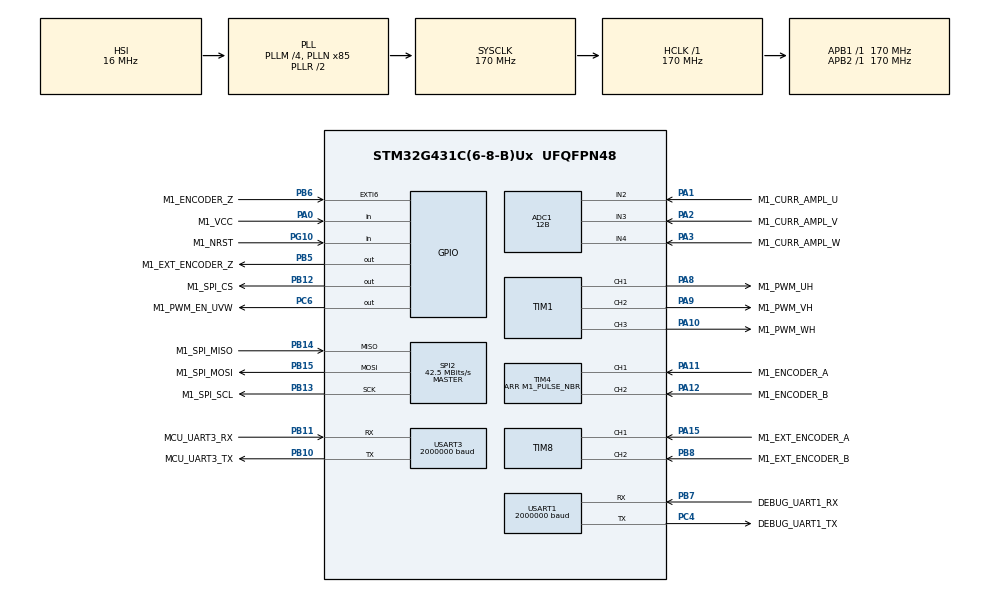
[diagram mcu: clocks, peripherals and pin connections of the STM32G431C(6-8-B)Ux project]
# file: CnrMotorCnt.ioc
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ADC1.ClockPrescaler=ADC_CLOCK_ASYNC_DIV1
ADC1.ContinuousConvMode=DISABLE
ADC1.DMAContinuousRequests=DISABLE
ADC1.DataAlign=ADC_DATAALIGN_LEFT
ADC1.DiscontinuousConvMode=DISABLE
ADC1.EOCSelection=ADC_EOC_SINGLE_CONV
ADC1.EnableAnalogWatchDog1=false
ADC1.EnableAnalogWatchDog2=false
ADC1.EnableAnalogWatchDog3=false
ADC1.EnableInjectedConversion=ENABLE
ADC1.EnableRegularConversion=DISABLE
ADC1.ExternalTrigInjecConv=ADC_EXTERNALTRIGINJEC_T1_TRGO
ADC1.ExternalTrigInjecConvEdge=ADC_EXTERNALTRIGINJECCONV_EDGE_RISING
ADC1.InjNumberOfConversion=3
ADC1.InjectedChannel-1\#ChannelInjectedConversion=ADC_CHANNEL_2
ADC1.InjectedChannel-2\#ChannelInjectedConversion=ADC_CHANNEL_3
ADC1.InjectedChannel-3\#ChannelInjectedConversion=ADC_CHANNEL_4
ADC1.InjectedConvMode=None
ADC1.InjectedOffset-1\#ChannelInjectedConversion=0
ADC1.InjectedOffset-2\#ChannelInjectedConversion=0
ADC1.InjectedOffset-3\#ChannelInjectedConversion=0
ADC1.InjectedOffsetNumber-1\#ChannelInjectedConversion=ADC_OFFSET_NONE
ADC1.InjectedOffsetNumber-2\#ChannelInjectedConversion=ADC_OFFSET_NONE
ADC1.InjectedOffsetNumber-3\#ChannelInjectedConversion=ADC_OFFSET_NONE
ADC1.InjectedRank-1\#ChannelInjectedConversion=1
ADC1.InjectedRank-2\#ChannelInjectedConversion=2
ADC1.InjectedRank-3\#ChannelInjectedConversion=3
ADC1.InjectedSamplingTime-1\#ChannelInjectedConversion=ADC_SAMPLETIME_6CYCLES_5
ADC1.InjectedSamplingTime-2\#ChannelInjectedConversion=ADC_SAMPLETIME_6CYCLES_5
ADC1.InjectedSamplingTime-3\#ChannelInjectedConversion=ADC_SAMPLETIME_6CYCLES_5
ADC1.LowPowerAutoWait=DISABLE
ADC1.Overrun=ADC_OVR_DATA_PRESERVED
ADC1.Resolution=ADC_RESOLUTION_12B
ADC1.ScanConvMode=ADC_SCAN_ENABLE
ADC1.master=1
Dma.Request0=USART1_RX
Dma.Request1=USART1_TX
Dma.USART1_RX.0.Direction=DMA_PERIPH_TO_MEMORY
Dma.USART1_RX.0.EventEnable=DISABLE
Dma.USART1_RX.0.Instance=DMA1_Channel1
Dma.USART1_RX.0.MemDataAlignment=DMA_MDATAALIGN_BYTE
Dma.USART1_RX.0.MemInc=DMA_MINC_ENABLE
Dma.USART1_RX.0.Mode=DMA_NORMAL
Dma.USART1_RX.0.PeriphDataAlignment=DMA_PDATAALIGN_BYTE
Dma.USART1_RX.0.PeriphInc=DMA_PINC_DISABLE
Dma.USART1_RX.0.Polarity=HAL_DMAMUX_REQ_GEN_RISING
Dma.USART1_RX.0.Priority=DMA_PRIORITY_LOW
Dma.USART1_RX.0.RequestNumber=1
Dma.USART1_RX.0.SignalID=NONE
Dma.USART1_RX.0.SyncEnable=DISABLE
Dma.USART1_RX.0.SyncPolarity=HAL_DMAMUX_SYNC_NO_EVENT
Dma.USART1_RX.0.SyncRequestNumber=1
Dma.USART1_RX.0.SyncSignalID=NONE
Dma.USART1_TX.1.Direction=DMA_MEMORY_TO_PERIPH
Dma.USART1_TX.1.EventEnable=DISABLE
Dma.USART1_TX.1.Instance=DMA1_Channel2
Dma.USART1_TX.1.MemDataAlignment=DMA_MDATAALIGN_BYTE
Dma.USART1_TX.1.MemInc=DMA_MINC_ENABLE
Dma.USART1_TX.1.Mode=DMA_NORMAL
Dma.USART1_TX.1.PeriphDataAlignment=DMA_PDATAALIGN_BYTE
Dma.USART1_TX.1.PeriphInc=DMA_PINC_DISABLE
Dma.USART1_TX.1.Polarity=HAL_DMAMUX_REQ_GEN_RISING
Dma.USART1_TX.1.Priority=DMA_PRIORITY_LOW
Dma.USART1_TX.1.RequestNumber=1
Dma.USART1_TX.1.SignalID=NONE
Dma.USART1_TX.1.SyncEnable=DISABLE
Dma.USART1_TX.1.SyncPolarity=HAL_DMAMUX_SYNC_NO_EVENT
Dma.USART1_TX.1.SyncRequestNumber=1
Dma.USART1_TX.1.SyncSignalID=NONE
ExtraMW=MotorControl
ExtraMW.MotorControl.Config=MotorControl
ExtraMW.MotorControl.Mode=MotorControl
ExtraMW.MotorControl.Root=MCSDK_v6.4.2-Full/MotorControl
ExtraMW.MotorControl.Template=templates
FREERTOS.Tasks01=foc_task,1,128,start_foc_control_task,Default,NULL,Dynamic,NULL,NULL;instr_task,0,128,start_instruction_task,Default,NULL,Dynamic,NULL,NULL;handler_task,-1,128,start_command_handler_task,Default,NULL,Dynamic,NULL,NULL;mediumFrequency,-3,128,startMediumFrequencyTask,As weak,NULL,Dynamic,NULL,NULL;safety,-3,128,StartSafetyTask,As external,NULL,Dynamic,NULL,NULL
FREERTOS.configTOTAL_HEAP_SIZE=6144
Mcu.Family=STM32G4
Mcu.Name=STM32G431C(6-8-B)Ux
Mcu.Package=UFQFPN48
MotorControl.ADC_AHBPERIPH=RCC_AHBPeriph_ADC1
MotorControl.ADC_CLOCK_WB_DIV=1
MotorControl.ADC_PERIPH=ADC1
MotorControl.ADC_REFERENCE_VOLTAGE=3.3
MotorControl.BOARD=~CNR-MOTOR-CNT
MotorControl.BUS_VOLTAGE_READING=false
MotorControl.CCMRAM_ENABLED=false
MotorControl.CLOCK_FREQUENCY=CPU_CLK_170_MHZ
MotorControl.CLOCK_SOURCE=INTERNAL
MotorControl.CPU_CLK_170_MHZ=true
MotorControl.CTLBOARD_NAME=~CNR-MOTOR-CNT
MotorControl.CUBE_MX_VER=6.17.0
MotorControl.CURRENT_READING_TOPOLOGY=THREE_SHUNT
MotorControl.CURR_SAMPLING_TIME=6
MotorControl.DBG_MCU_LOAD_MEASURE=false
MotorControl.DEBUG_DAC_FUNCTIONALITY_EN=false
MotorControl.DRIVES_NUMBER_SELECTION=SINGLEDRIVE
MotorControl.DRIVE_NUMBER=1
MotorControl.DRIVE_TYPE=FOC
MotorControl.ENCODER=true
MotorControl.ENCODER_AVAILABLE=true
MotorControl.ENCODER_PPR=256
MotorControl.ENC_A_GPIO_PIN=LL_GPIO_PIN_11
MotorControl.ENC_A_GPIO_PORT=GPIOA
MotorControl.ENC_B_GPIO_PIN=LL_GPIO_PIN_12
MotorControl.ENC_B_GPIO_PORT=GPIOA
MotorControl.ENC_ICx_FILTER=128
MotorControl.ENC_INVERT_SPEED=false
MotorControl.ENC_TIMER_SELECTION=ENC_TIM4
MotorControl.ENC_USE_CH3=true
MotorControl.ENC_Z_GPIO_PIN=LL_GPIO_PIN_6
MotorControl.ENC_Z_GPIO_PORT=GPIOB
MotorControl.EXT_CLOCK_FREQUENCY=INT_RC_OSC
MotorControl.FEEDBACK_NET_FILTERING=false
MotorControl.FLASH_SIZE=128
MotorControl.HALL_SENSORS_AVAILABLE=false
MotorControl.HIGH_SIDE_IDLE_STATE=false
MotorControl.HWV_CS=ThreeShunt_AmplifiedCurrents
MotorControl.HWV_PWM=DrivingHighSidesAndOneEnable
MotorControl.HW_COMPLEMENTED_LOW_SIDE=true
MotorControl.HW_DEAD_TIME_NS=1000
MotorControl.INT_RC_OSC=true
MotorControl.IPs=CORDIC,NVIC,RCC,MotorControl,TIM1,ADC1,TIM4,USART1,FREERTOS,DMA
MotorControl.LOW_MEMORY_FOOTPRINT_REG=false
MotorControl.LOW_SIDE_IDLE_STATE=false
MotorControl.LOW_SIDE_SIGNALS_ENABLING=ES_GPIO
MotorControl.M1_ALIGNMENT_ANGLE_DEG=90
MotorControl.M1_ALIGNMENT_DURATION=700
MotorControl.M1_AMPLIFICATION_GAIN=0.15
MotorControl.M1_ANGC={0,0,0,0,0,0,0,0}
MotorControl.M1_AUXILIARY_SPEED_SENSOR=NONE
MotorControl.M1_BOARD_MAX_CURRENT=1.6
MotorControl.M1_BUS_VOLTAGE_READING=false
MotorControl.M1_COMMUTATION_STEP_TIME_BUF_SIZE=12
MotorControl.M1_CONSTANT1_D=0
MotorControl.M1_CONSTANT1_Q=0
MotorControl.M1_CONSTANT2_QD=921221
MotorControl.M1_CS_ADC_NUM=1
MotorControl.M1_CS_ADC_PHASE_SHARED=NONE
MotorControl.M1_CS_ADC_U=ADC1
MotorControl.M1_CS_ADC_V=ADC1
MotorControl.M1_CS_ADC_W=ADC1
MotorControl.M1_CS_CHANNEL_U=2
MotorControl.M1_CS_CHANNEL_V=3
MotorControl.M1_CS_CHANNEL_W=4
MotorControl.M1_CURRENT_AMPLIFICATION_TOPO=EXTERNAL
MotorControl.M1_CURRENT_SENSING_TOPO=THREE_SHUNT
MotorControl.M1_CURR_SAMPLING_TIME=6
MotorControl.M1_DBG_OPEN_LOOP_ENABLE=false
MotorControl.M1_DC_CURRENT_RS_MEAS=1.6
MotorControl.M1_DEFAULT_CONTROL_MODE=STC_SPEED_MODE
MotorControl.M1_DEFAULT_FLUX_COMPONENT=0
MotorControl.M1_DEFAULT_TARGET_SPEED_RPM=1440
MotorControl.M1_DEFAULT_TORQUE_COMPONENT=0
MotorControl.M1_DISCONTINUOUS_PWM=false
MotorControl.M1_DP_TOPOLOGY=NONE
MotorControl.M1_DRIVE_TYPE=FOC
MotorControl.M1_ENCODER_PPR=256
MotorControl.M1_ENC_AVERAGING_FIFO_DEPTH=16
MotorControl.M1_ENC_A_GPIO_PIN=LL_GPIO_PIN_11
MotorControl.M1_ENC_A_GPIO_PORT=GPIOA
MotorControl.M1_ENC_B_GPIO_PIN=LL_GPIO_PIN_12
MotorControl.M1_ENC_B_GPIO_PORT=GPIOA
MotorControl.M1_ENC_ICx_FILTER=128
MotorControl.M1_ENC_TIMER_IRQ=TIM4
MotorControl.M1_ENC_TIMER_SELECTION=ENC_TIM4
MotorControl.M1_ENC_USE_CH3=true
MotorControl.M1_ENC_Z_GPIO_IRQ=EXTI9_5
MotorControl.M1_ENC_Z_GPIO_PIN=LL_GPIO_PIN_6
MotorControl.M1_ENC_Z_GPIO_PORT=GPIOB
MotorControl.M1_FEED_FORWARD_CURRENT_REG_ENABLING=false
MotorControl.M1_FINAL_I_ALIGNMENT=1.6
MotorControl.M1_FLUX_WEAKENING_ENABLING=false
MotorControl.M1_FW_KIDIV=32768
MotorControl.M1_FW_KI_GAIN=5000
MotorControl.M1_FW_KPDIV=32768
MotorControl.M1_FW_KP_GAIN=3000
MotorControl.M1_FW_VOLTAGE_REF=985
MotorControl.M1_HALL_PHASE_SHIFT=300
MotorControl.M1_HALL_SENSORS_PLACEMENT=DEGREES_120
MotorControl.M1_HIGH_SIDE_IDLE_STATE=false
MotorControl.M1_HW_DEAD_TIME_NS=1000
MotorControl.M1_ICL_ENABLED=false
MotorControl.M1_ID_DEMAG=-1.6
MotorControl.M1_IQMAX=1.6
MotorControl.M1_LDLQ_RATIO=1.000
MotorControl.M1_LOW_SIDE_IDLE_STATE=false
MotorControl.M1_LOW_SIDE_SIGNALS_ENABLING=ES_GPIO
MotorControl.M1_LS=0
MotorControl.M1_MAX_APPLICATION_SPEED=50000
MotorControl.M1_MAX_MODULATION_INDEX=65
MotorControl.M1_MIN_APPLICATION_SPEED=0
MotorControl.M1_MOTOR_MAX_SPEED_RPM=50000
MotorControl.M1_MOTOR_NAME=MAXON EC-I 100W
MotorControl.M1_MOTOR_RATED_FLUX=0.029687816
MotorControl.M1_MOTOR_VOLTAGE_CONSTANT=0.6
MotorControl.M1_MTPA_ENABLING=false
MotorControl.M1_NOMINAL_BUS_VOLTAGE_V=36
MotorControl.M1_NOMINAL_CURRENT=1.6
MotorControl.M1_OCP_TOPOLOGY=NONE
MotorControl.M1_OFST={0,0,0,0,0,0,0,0}
MotorControl.M1_OVERMODULATION=false
MotorControl.M1_PID_FLUX_KD_DEFAULT=100
MotorControl.M1_PID_FLUX_KI_DEFAULT=2829
MotorControl.M1_PID_FLUX_KP_DEFAULT=0
MotorControl.M1_PID_SPEED_KD_DEFAULT=0
MotorControl.M1_PID_SPEED_KI_DEFAULT=328
MotorControl.M1_PID_SPEED_KP_DEFAULT=2130
MotorControl.M1_PID_TORQUE_KD_DEFAULT=100
MotorControl.M1_PID_TORQUE_KI_DEFAULT=2829
MotorControl.M1_PID_TORQUE_KP_DEFAULT=0
MotorControl.M1_POLE_PAIR_NUM=1
MotorControl.M1_POSITION_CTRL_ENABLING=true
MotorControl.M1_POSITION_CTRL_KDDIV=16
MotorControl.M1_POSITION_CTRL_KD_GAIN=1000
MotorControl.M1_POSITION_CTRL_KIDIV=32768
MotorControl.M1_POSITION_CTRL_KI_GAIN=1000
MotorControl.M1_POSITION_CTRL_KPDIV=1024
MotorControl.M1_POSITION_CTRL_KP_GAIN=10000
MotorControl.M1_POSITION_LOOP_FREQUENCY_HZ=1000
MotorControl.M1_POTENTIOMETER_ENABLE=false
MotorControl.M1_POWERBOARD_NAME=~CNR-MOTOR-DRV
MotorControl.M1_PWM_CHARGE_BOOT_CAP_DUTY_CYCLES=0.000
MotorControl.M1_PWM_CHARGE_BOOT_CAP_MS=10
MotorControl.M1_PWM_DRIVER_PN=DRV8316CT
MotorControl.M1_PWM_FREQUENCY=50000
MotorControl.M1_PWM_TIMER_BRK_IRQ=TIM1_BRK_TIM15
MotorControl.M1_PWM_TIMER_SELECTION=PWM_TIM1
MotorControl.M1_PWM_TIMER_UP_IRQ=TIM1_UP_TIM16
MotorControl.M1_REGULATION_EXECUTION_RATE=1
MotorControl.M1_RS=11.3
MotorControl.M1_RSHUNT=0.15
MotorControl.M1_SEGDIV=0
MotorControl.M1_SHARED_SIGNAL_ENABLE=true
MotorControl.M1_SPD_DIFFERENTIAL_TERM_ENABLING=false
MotorControl.M1_SPEED_SENSOR=QUAD_ENCODER_Z
MotorControl.M1_SP_KDDIV=16
MotorControl.M1_SP_KIDIV=16384
MotorControl.M1_SP_KPDIV=256
MotorControl.M1_SS_MEAS_ERRORS_BEFORE_FAULTS=3
MotorControl.M1_SW_DEADTIME_NS=1000
MotorControl.M1_TEMPERATURE_READING=false
MotorControl.M1_TF_KDDIV=8192
MotorControl.M1_TF_KIDIV=512
MotorControl.M1_TF_KPDIV=16384
MotorControl.M1_TNOISE_NS=700
MotorControl.M1_TRISE_NS=1800
MotorControl.M1_USE_INTERNAL_OPAMP=false
MotorControl.MAX_READABLE_CURRENT=73.333
MotorControl.MCPA_OVER_UART_A_STREAM=10
MotorControl.MCP_ASPEP_OVER_UART=true
MotorControl.MCP_ASYNC_EN=true
MotorControl.MCP_ASYNC_OVER_ASPEP_EN=true
MotorControl.MCP_ASYNC_OVER_UART_A_EN=true
MotorControl.MCP_DMACH_RX_UART_A=1
MotorControl.MCP_DMACH_TX_UART_A=2
MotorControl.MCP_DMA_RX_UART_A=DMA1
MotorControl.MCP_DMA_TX_UART_A=DMA1
MotorControl.MCP_EN=true
MotorControl.MCP_IRQ_HANDLER_DMA_RX_UART_A=DMA1_Channel1_IRQHandler
MotorControl.MCP_IRQ_HANDLER_UART_A=USART1_IRQHandler
MotorControl.MCP_OVER_ASPEP_EN=true
MotorControl.MCP_OVER_STLNK_EN=false
MotorControl.MCP_OVER_UART_A_EN=true
MotorControl.MCP_OVER_UART_B_EN=false
MotorControl.MCP_RX_SYNC_PAYLOAD_MAX=256
MotorControl.MCP_TX_ASYNC_PAYLOAD_MAX_UART_A=2048
MotorControl.MCP_TX_SYNC_PAYLOAD_MAX=256
MotorControl.MCU=STM32G431CB
MotorControl.MCU_FAMILY=STM32G4
MotorControl.MCU_LINE=STM32G4x1
MotorControl.MCU_NAME=STM32G431C(6-8-B)Ux
MotorControl.MCU_PACKAGE=UFQFPN48
MotorControl.MCU_TYPE=STM32G431CB
MotorControl.MCU_USERNAME=STM32G431CBUx
MotorControl.MC_WORKBENCH_VERSION=6.4.2
MotorControl.MOTOR_PROFILER=false
MotorControl.MOTOR_TYPE=PMSM
MotorControl.PHASE_UH_GPIO_PIN=LL_GPIO_PIN_8
MotorControl.PHASE_UH_GPIO_PORT=GPIOA
MotorControl.PHASE_UH_POLARITY=H_ACTIVE_HIGH
MotorControl.PHASE_UL_GPIO_PIN=LL_GPIO_PIN_6
MotorControl.PHASE_UL_GPIO_PORT=GPIOC
MotorControl.PHASE_UL_POLARITY=L_ACTIVE_HIGH
MotorControl.PHASE_U_CURR_ADC=ADC1
MotorControl.PHASE_U_CURR_CHANNEL=ADC_CHANNEL_2
MotorControl.PHASE_U_GPIO_PIN=LL_GPIO_PIN_1
MotorControl.PHASE_U_GPIO_PORT=GPIOA
MotorControl.PHASE_U_PWM_CHANNEL=TIM_Channel_1
MotorControl.PHASE_VH_GPIO_PIN=LL_GPIO_PIN_9
MotorControl.PHASE_VH_GPIO_PORT=GPIOA
MotorControl.PHASE_VH_POLARITY=H_ACTIVE_HIGH
MotorControl.PHASE_VL_GPIO_PIN=LL_GPIO_PIN_6
MotorControl.PHASE_VL_GPIO_PORT=GPIOC
MotorControl.PHASE_VL_POLARITY=L_ACTIVE_HIGH
MotorControl.PHASE_V_CURR_ADC=ADC1
MotorControl.PHASE_V_CURR_CHANNEL=ADC_CHANNEL_3
MotorControl.PHASE_V_GPIO_PIN=LL_GPIO_PIN_2
MotorControl.PHASE_V_GPIO_PORT=GPIOA
MotorControl.PHASE_V_PWM_CHANNEL=TIM_Channel_2
MotorControl.PHASE_WH_GPIO_PIN=LL_GPIO_PIN_10
MotorControl.PHASE_WH_GPIO_PORT=GPIOA
MotorControl.PHASE_WH_POLARITY=H_ACTIVE_HIGH
MotorControl.PHASE_WL_GPIO_PIN=LL_GPIO_PIN_6
MotorControl.PHASE_WL_GPIO_PORT=GPIOC
MotorControl.PHASE_WL_POLARITY=L_ACTIVE_HIGH
MotorControl.PHASE_W_CURR_ADC=ADC1
MotorControl.PHASE_W_CURR_CHANNEL=ADC_CHANNEL_4
MotorControl.PHASE_W_GPIO_PIN=LL_GPIO_PIN_3
MotorControl.PHASE_W_GPIO_PORT=GPIOA
MotorControl.PHASE_W_PWM_CHANNEL=TIM_Channel_3
MotorControl.POTENTIOMETER_READING=false
MotorControl.PWM_FREQUENCY=50000
MotorControl.PWM_TIMER_SELECTION=PWM_TIM1
MotorControl.REGULATION_EXECUTION_RATE=1
MotorControl.RTOS=FREERTOS
MotorControl.RTOS_IRQ_NAME_WB2MX=TIM6_DAC_IRQn
MotorControl.RTOS_TIMER=TIM6
MotorControl.RTOS_USE_IRQ=true
MotorControl.SINGLEDRIVE=true
MotorControl.SPD_DIFFERENTIAL_TERM_ENABLING=false
MotorControl.SPEED_SENSOR_SELECTION=ENCODER
MotorControl.START_STOP_BTN=false
MotorControl.STM32G431CB=true
MotorControl.SW_DEADTIME_NS=1000
MotorControl.TEMPERATURE_READING=false
MotorControl.TFDIFFERENTIAL_TERM_ENABLING=false
MotorControl.THREE_SHUNT=true
MotorControl.TRISE_NS=1800
MotorControl.USART_RX_GPIO_PIN=LL_GPIO_PIN_7
MotorControl.USART_RX_GPIO_PORT=GPIOB
MotorControl.USART_SELECTION=USE_USART1
MotorControl.USART_SELECTION_A=USART1
MotorControl.USART_SPEED=1843200
MotorControl.USART_TX_GPIO_PIN=LL_GPIO_PIN_4
MotorControl.USART_TX_GPIO_PORT=GPIOC
MotorControl.USE_3OPAMPS=false
MotorControl.USE_INTERNAL_OPAMP=false
MotorControl.WB_MX_HEAPSIZE=0x200
MotorControl.WB_MX_STACKSIZE=0x400
MotorControl.WB_MX_TRUSTZONE_AVAILABLE=false
MotorControl.WB_UI_CUTOFF_FREQUENCY=6000
MotorControl.WB_UI_ENCODER_HAS_INDEX_PIN=true
MotorControl.WB_UI_FLUX_TARGET=0
MotorControl.WB_UI_FRICTION=14
MotorControl.WB_UI_INERTIA=5.81
MotorControl.WB_UI_MAGNETIC_STRUCTURE=SM-PMSM
MotorControl.WB_UI_MAX_CURRENT=1.6
MotorControl.WB_UI_MAX_NOMINAL_DC_VOLTAGE=36
MotorControl.WB_UI_MAX_PWMFREQUENCY=50000
MotorControl.WB_UI_MOTOR_DESCRIPTION=brushless DC motor with encoder and Z Index
MotorControl.WB_UI_PW_BOARD_MAX_RATED_CURRENT=8
MotorControl.WB_UI_PW_BOARD_MAX_VOLTAGE=36
MotorControl.WB_UI_PW_BOARD_MIN_VOLTAGE=4.5
MotorControl.WB_UI_VPOL=0
MotorControl.WB_to_Mx_template_version=25-05-06
MotorControl.WB_to_Mx_version=6.4.2
NVIC.ADC1_2_IRQn=true\:7\:0\:true\:true\:false\:5\:true\:true\:true\:true
NVIC.EXTI9_5_IRQn=true\:8\:0\:true\:true\:false\:7\:true\:true\:true\:true
NVIC.PriorityGroup=NVIC_PRIORITYGROUP_4
NVIC.TIM1_BRK_TIM15_IRQn=true\:9\:0\:true\:true\:false\:3\:true\:true\:true\:true
NVIC.TIM1_UP_TIM16_IRQn=true\:5\:0\:true\:true\:false\:4\:true\:true\:true\:true
NVIC.TIM4_IRQn=true\:8\:0\:true\:true\:false\:6\:true\:true\:true\:true
NVIC.TIM6_DAC_IRQn=true\:15\:0\:false\:false\:true\:false\:false\:true\:true
NVIC.TimeBase=TIM6_DAC_IRQn
NVIC.TimeBaseIP=TIM6
NVIC.USART3_IRQn=true\:5\:0\:false\:false\:true\:true\:true\:true\:true
PA0.GPIO_Label=M1_VCC
PA0.Signal=GPIO_Input
PA1.GPIO_Label=M1_CURR_AMPL_U
PA1.Mode=IN2-Single-Ended
PA1.Signal=ADC1_IN2
PA10.GPIO_Label=M1_PWM_WH
PA10.GPIO_PuPd=GPIO_PULLDOWN
PA10.GPIO_Speed=GPIO_SPEED_FREQ_HIGH
PA10.Signal=S_TIM1_CH3
PA11.GPIO_Label=M1_ENCODER_A
PA11.Signal=S_TIM4_CH1
PA12.GPIO_Label=M1_ENCODER_B
PA12.Signal=S_TIM4_CH2
PA13.Mode=Trace_Asynchronous_SW
PA13.Signal=SYS_JTMS-SWDIO
PA14.Mode=Trace_Asynchronous_SW
PA14.Signal=SYS_JTCK-SWCLK
PA15.GPIO_Label=M1_EXT_ENCODER_A
PA15.Signal=S_TIM8_CH1
PA2.GPIO_Label=M1_CURR_AMPL_V
PA2.Mode=IN3-Single-Ended
PA2.Signal=ADC1_IN3
PA3.GPIO_Label=M1_CURR_AMPL_W
PA3.Mode=IN4-Single-Ended
PA3.Signal=ADC1_IN4
PA8.GPIO_Label=M1_PWM_UH
PA8.GPIO_PuPd=GPIO_PULLDOWN
PA8.GPIO_Speed=GPIO_SPEED_FREQ_HIGH
PA8.Signal=S_TIM1_CH1
PA9.GPIO_Label=M1_PWM_VH
PA9.GPIO_PuPd=GPIO_PULLDOWN
PA9.GPIO_Speed=GPIO_SPEED_FREQ_HIGH
PA9.Signal=S_TIM1_CH2
PB10.GPIO_Label=MCU_UART3_TX
PB10.GPIO_PuPd=GPIO_PULLUP
PB10.Mode=Asynchronous
PB10.Signal=USART3_TX
PB11.GPIO_Label=MCU_UART3_RX
PB11.GPIO_PuPd=GPIO_PULLUP
PB11.Mode=Asynchronous
PB11.Signal=USART3_RX
PB12.GPIO_Label=M1_SPI_CS
PB12.Signal=GPIO_Output
PB13.GPIO_Label=M1_SPI_SCL
PB13.Mode=Full_Duplex_Master
PB13.Signal=SPI2_SCK
PB14.GPIO_Label=M1_SPI_MISO
PB14.Mode=Full_Duplex_Master
PB14.Signal=SPI2_MISO
PB15.GPIO_Label=M1_SPI_MOSI
PB15.Mode=Full_Duplex_Master
PB15.Signal=SPI2_MOSI
PB3.Mode=Trace_Asynchronous_SW
PB3.Signal=SYS_JTDO-SWO
PB5.GPIO_Label=M1_EXT_ENCODER_Z
PB5.Signal=GPIO_Output
PB6.GPIO_Label=M1_ENCODER_Z
PB6.GPIO_ModeDefaultEXTI=GPIO_MODE_IT_RISING
PB6.Signal=GPXTI6
PB7.GPIO_Label=DEBUG_UART1_RX
PB7.GPIO_Mode=GPIO_MODE_AF_PP
PB7.GPIO_PuPd=GPIO_NOPULL
PB7.GPIO_Speed=GPIO_SPEED_FREQ_LOW
PB7.Mode=Asynchronous
PB7.Signal=USART1_RX
PB8-BOOT0.GPIO_Label=M1_EXT_ENCODER_B
PB8-BOOT0.Signal=S_TIM8_CH2
PC4.GPIO_Label=DEBUG_UART1_TX
PC4.GPIO_Mode=GPIO_MODE_AF_PP
PC4.GPIO_PuPd=GPIO_NOPULL
PC4.GPIO_Speed=GPIO_SPEED_FREQ_LOW
PC4.Mode=Asynchronous
PC4.Signal=USART1_TX
PC6.GPIO_Label=M1_PWM_EN_UVW
PC6.GPIO_PuPd=GPIO_PULLDOWN
PC6.GPIO_Speed=GPIO_SPEED_FREQ_HIGH
PC6.Signal=GPIO_Output
PG10-NRST.GPIO_Label=M1_NRST
PG10-NRST.Signal=GPIO_Input
ProjectManager.HeapSize=0x200
ProjectManager.StackSize=0x400
ProjectManager.TargetToolchain=CMake
RCC.ADC12CLockSelection=RCC_ADC12CLKSOURCE_PLL
RCC.ADC12Freq_Value=42500000
RCC.AHBFreq_Value=170000000
RCC.APB1Freq_Value=170000000
RCC.APB1TimFreq_Value=170000000
RCC.APB2Freq_Value=170000000
RCC.APB2TimFreq_Value=170000000
RCC.CK48CLockSelection=RCC_USBCLKSOURCE_PLL
RCC.CortexFreq_Value=170000000
RCC.EXTERNAL_CLOCK_VALUE=12288000
RCC.HCLKFreq_Value=170000000
RCC.HSE_VALUE=8000000
RCC.HSI48_VALUE=48000000
RCC.HSI_VALUE=16000000
RCC.LSE_VALUE=32768
RCC.PLLM=RCC_PLLM_DIV4
RCC.PLLN=85
RCC.PLLP=RCC_PLLP_DIV8
RCC.PREFETCH_ENABLE=1
RCC.SYSCLKFreq_VALUE=170000000
RCC.SYSCLKSource=RCC_SYSCLKSOURCE_PLLCLK
RCC.USBFreq_Value=170000000
RCC.VCOOutputFreq_Value=340000000
SH.S_TIM1_CH1.0=TIM1_CH1,PWM Generation1 CH1
SH.S_TIM1_CH2.0=TIM1_CH2,PWM Generation2 CH2
SH.S_TIM1_CH3.0=TIM1_CH3,PWM Generation3 CH3
SH.S_TIM4_CH1.0=TIM4_CH1,Encoder_Interface
SH.S_TIM4_CH2.0=TIM4_CH2,Encoder_Interface
SH.S_TIM8_CH1.0=TIM8_CH1,Encoder_Interface
SH.S_TIM8_CH2.0=TIM8_CH2,Encoder_Interface
SPI2.BaudRatePrescaler=SPI_BAUDRATEPRESCALER_4
SPI2.CalculateBaudRate=42.5 MBits/s
SPI2.DataSize=SPI_DATASIZE_8BIT
SPI2.Direction=SPI_DIRECTION_2LINES
SPI2.Mode=SPI_MODE_MASTER
SPI2.VirtualType=VM_MASTER
TIM1.AutoReloadPreload=TIM_AUTORELOAD_PRELOAD_DISABLE
TIM1.AutomaticOutput=TIM_AUTOMATICOUTPUT_DISABLE
TIM1.Break2Filter=3
TIM1.Break2Polarity=TIM_BREAK2POLARITY_HIGH
TIM1.Break2State=TIM_BREAK2_DISABLE
TIM1.BreakFilter=0
TIM1.BreakPolarity=TIM_BREAKPOLARITY_HIGH
TIM1.BreakState=TIM_BREAK_DISABLE
TIM1.Channel=TIM_CHANNEL_4
TIM1.Channel-PWM\ Generation1\ CH1=TIM_CHANNEL_1
TIM1.Channel-PWM\ Generation2\ CH2=TIM_CHANNEL_2
TIM1.Channel-PWM\ Generation3\ CH3=TIM_CHANNEL_3
TIM1.Channel-PWM\ Generation4\ No\ Output=TIM_CHANNEL_4
TIM1.ClearInputSource=TIM_CLEARINPUTSOURCE_NONE
TIM1.ClockDivision=TIM_CLOCKDIVISION_DIV2
TIM1.CounterMode=TIM_COUNTERMODE_CENTERALIGNED1
TIM1.LockLevel=TIM_LOCKLEVEL_OFF
TIM1.OC1Preload_PWM=ENABLE
TIM1.OC2Preload_PWM=ENABLE
TIM1.OC3Preload_PWM=ENABLE
TIM1.OC4Preload_PWM=ENABLE
TIM1.OCFastMode_PWM=TIM_OCFAST_DISABLE
TIM1.OCIdleState_1=TIM_OCIDLESTATE_RESET
TIM1.OCIdleState_2=TIM_OCIDLESTATE_RESET
TIM1.OCIdleState_3=TIM_OCIDLESTATE_RESET
TIM1.OCIdleState_4=TIM_OCIDLESTATE_RESET
TIM1.OCMode_PWM-PWM\ Generation1\ CH1=TIM_OCMODE_PWM1
TIM1.OCMode_PWM-PWM\ Generation2\ CH2=TIM_OCMODE_PWM1
TIM1.OCMode_PWM-PWM\ Generation3\ CH3=TIM_OCMODE_PWM1
TIM1.OCMode_PWM-PWM\ Generation4\ No\ Output=TIM_OCMODE_PWM2
TIM1.OCPolarity_1=TIM_OCPOLARITY_HIGH
TIM1.OCPolarity_2=TIM_OCPOLARITY_HIGH
TIM1.OCPolarity_3=TIM_OCPOLARITY_HIGH
TIM1.OCPolarity_4=TIM_OCPOLARITY_HIGH
TIM1.OffStateIDLEMode=TIM_OSSI_ENABLE
TIM1.OffStateRunMode=TIM_OSSR_ENABLE
TIM1.PeriodNoDither=((PWM_PERIOD_CYCLES) / 2)
TIM1.Prescaler=((TIM_CLOCK_DIVIDER) - 1)
TIM1.PulseNoDither_1=((PWM_PERIOD_CYCLES) / 4)
TIM1.PulseNoDither_2=((PWM_PERIOD_CYCLES) / 4)
TIM1.PulseNoDither_3=((PWM_PERIOD_CYCLES) / 4)
TIM1.PulseNoDither_4=(((PWM_PERIOD_CYCLES) / 2) - (HTMIN))
TIM1.RepetitionCounter=(REP_COUNTER)
TIM1.SourceBRK2DigInput=TIM_BREAKINPUTSOURCE_DISABLE
TIM1.SourceBRKDigInput=TIM_BREAKINPUTSOURCE_DISABLE
TIM1.TIM_MasterOutputTrigger=TIM_TRGO_OC4REF
TIM1.TIM_MasterOutputTrigger2=TIM_TRGO2_RESET
TIM1.TIM_MasterSlaveMode=TIM_MASTERSLAVEMODE_DISABLE
TIM1.TIM_SlaveMode=TIM_SLAVEMODE_TRIGGER
TIM4.EncoderMode=TIM_ENCODERMODE_TI12
TIM4.IC1Filter=M1_ENC_IC_FILTER
TIM4.IC1Polarity=TIM_ICPOLARITY_RISING
TIM4.IC2Filter=M1_ENC_IC_FILTER
TIM4.IC2Polarity=TIM_ICPOLARITY_RISING
TIM4.PeriodNoDither=M1_PULSE_NBR
USART1.BaudRate=2000000
USART1.VirtualMode-Asynchronous=VM_ASYNC
USART1.WordLength=WORDLENGTH_8B
USART3.BaudRate=2000000
USART3.VirtualMode-Asynchronous=VM_ASYNC
VP_CORDIC_VS_CORDIC.Mode=CORDIC_Activate
VP_FREERTOS_VS_CMSIS_V1.Mode=CMSIS_V1
VP_MotorControl_MC_ENABLED.Mode=Enabled
VP_SYS_VS_DBSignals.Mode=DisableDeadBatterySignals
VP_SYS_VS_tim6.Mode=TIM6
VP_TIM1_VS_no_output4.Mode=PWM Generation4 No Output
board=custom

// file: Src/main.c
/* USER CODE BEGIN Header */
/**
  ******************************************************************************
  * @file           : main.c
  * @brief          : Main program body
  ******************************************************************************
  * @attention
  *
  * Copyright (c) 2026 STMicroelectronics.
  * All rights reserved.
  *
  * This software is licensed under terms that can be found in the LICENSE file
  * in the root directory of this software component.
  * If no LICENSE file comes with this software, it is provided AS-IS.
  *
  ******************************************************************************
  */
/* USER CODE END Header */
#include "main.h"
#include "cmsis_os.h"

/* USER CODE BEGIN Includes */
#include<stdio.h>
#include "mc_api.h"
#include "mcp_config.h"
#include "mc_tasks.h"
// #include "mc_interface.h"
/* USER CODE END Includes */

ADC_HandleTypeDef hadc1;

CORDIC_HandleTypeDef hcordic;

SPI_HandleTypeDef hspi2;

TIM_HandleTypeDef htim1;
TIM_HandleTypeDef htim4;
TIM_HandleTypeDef htim8;

UART_HandleTypeDef huart1;
UART_HandleTypeDef huart3;
DMA_HandleTypeDef hdma_usart1_rx;
DMA_HandleTypeDef hdma_usart1_tx;

osThreadId foc_taskHandle;
osThreadId instr_taskHandle;
osThreadId handler_taskHandle;
osThreadId mediumFrequencyHandle;
osThreadId safetyHandle;

void SystemClock_Config(void);
static void MX_GPIO_Init(void);
static void MX_DMA_Init(void);
static void MX_ADC1_Init(void);
static void MX_CORDIC_Init(void);
static void MX_TIM1_Init(void);
static void MX_TIM4_Init(void);
static void MX_USART1_UART_Init(void);
static void MX_SPI2_Init(void);
static void MX_TIM8_Init(void);
static void MX_USART3_UART_Init(void);
void start_foc_control_task(void const * argument);
void start_instruction_task(void const * argument);
void start_command_handler_task(void const * argument);
void startMediumFrequencyTask(void const * argument);
extern void StartSafetyTask(void const * argument);

static void MX_NVIC_Init(void);

/* USER CODE BEGIN 0 */
#ifdef __GNUC__
int __io_putchar(int ch)
#else
int fputc(int ch, FILE *f)
#endif
{
  HAL_UART_Transmit(&huart1, (uint8_t *)&ch, 1, HAL_MAX_DELAY);
  return ch;
}

void R3_1_TurnOnLowSides(PWMC_Handle_t *pHdl, uint32_t ticks)
{
  PWMC_R3_1_Handle_t *pHandle = (PWMC_R3_1_Handle_t *)pHdl;
  TIM_TypeDef *TIMx = pHandle->pParams_str->TIMx;

  pHandle->_Super.TurnOnLowSidesAction = true;

  LL_TIM_OC_DisablePreload(TIMx, LL_TIM_CHANNEL_CH1);
  LL_TIM_OC_DisablePreload(TIMx, LL_TIM_CHANNEL_CH2);
  LL_TIM_OC_DisablePreload(TIMx, LL_TIM_CHANNEL_CH3);
  LL_TIM_OC_SetCompareCH1(TIMx, ticks);
  LL_TIM_OC_SetCompareCH2(TIMx, ticks);
  LL_TIM_OC_SetCompareCH3(TIMx, ticks);
  LL_TIM_OC_EnablePreload(TIMx, LL_TIM_CHANNEL_CH1);
  LL_TIM_OC_EnablePreload(TIMx, LL_TIM_CHANNEL_CH2);
  LL_TIM_OC_EnablePreload(TIMx, LL_TIM_CHANNEL_CH3);

  LL_TIM_EnableAllOutputs(TIMx);
  /* nSLEEP toggle deliberately REMOVED - the driver must stay awake */
}

void R3_1_SwitchOnPWM(PWMC_Handle_t *pHdl)
{
  PWMC_R3_1_Handle_t *pHandle = (PWMC_R3_1_Handle_t *)pHdl;
  TIM_TypeDef *TIMx = pHandle->pParams_str->TIMx;

  pHandle->_Super.TurnOnLowSidesAction = false;

  /* Set all duty to 50% */
  LL_TIM_OC_DisablePreload(TIMx, LL_TIM_CHANNEL_CH1);
  LL_TIM_OC_DisablePreload(TIMx, LL_TIM_CHANNEL_CH2);
  LL_TIM_OC_DisablePreload(TIMx, LL_TIM_CHANNEL_CH3);
  LL_TIM_OC_DisablePreload(TIMx, LL_TIM_CHANNEL_CH4);
  LL_TIM_OC_SetCompareCH1(TIMx, ((uint32_t)pHandle->Half_PWMPeriod / (uint32_t)2));
  LL_TIM_OC_SetCompareCH2(TIMx, ((uint32_t)pHandle->Half_PWMPeriod / (uint32_t)2));
  LL_TIM_OC_SetCompareCH3(TIMx, ((uint32_t)pHandle->Half_PWMPeriod / (uint32_t)2));
  LL_TIM_OC_SetCompareCH4(TIMx, ((uint32_t)pHandle->Half_PWMPeriod - (uint32_t)5));
  LL_TIM_OC_EnablePreload(TIMx, LL_TIM_CHANNEL_CH1);
  LL_TIM_OC_EnablePreload(TIMx, LL_TIM_CHANNEL_CH2);
  LL_TIM_OC_EnablePreload(TIMx, LL_TIM_CHANNEL_CH3);
  LL_TIM_OC_EnablePreload(TIMx, LL_TIM_CHANNEL_CH4);

  TIMx->BDTR |= LL_TIM_OSSI_ENABLE;
  LL_TIM_EnableAllOutputs(TIMx);
  /* nSLEEP toggle deliberately REMOVED */

  pHandle->_Super.PWMState = true;
}

void R3_1_SwitchOffPWM(PWMC_Handle_t *pHdl)
{
  PWMC_R3_1_Handle_t *pHandle = (PWMC_R3_1_Handle_t *)pHdl;
  TIM_TypeDef *TIMx = pHandle->pParams_str->TIMx;

  pHandle->_Super.PWMState = false;
  pHandle->_Super.TurnOnLowSidesAction = false;

  LL_TIM_DisableAllOutputs(TIMx);
  /* nSLEEP toggle deliberately REMOVED - the CSA must stay alive */
}

/* USER CODE END 0 */

int main(void)
{

  /* MCU Configuration--------------------------------------------------------*/

  /* Reset of all peripherals, Initializes the Flash interface and the Systick. */
  HAL_Init();

  /* Configure the system clock */
  SystemClock_Config();

  /* Initialize all configured peripherals */
  MX_GPIO_Init();
  // MX_DMA_Init();
  MX_ADC1_Init();
  MX_CORDIC_Init();
  MX_TIM1_Init();
  MX_TIM4_Init();
  MX_USART1_UART_Init();
  // MX_MotorControl_Init();
  MX_SPI2_Init();
  MX_TIM8_Init();
  MX_USART3_UART_Init();

  /* Initialize interrupts */
  printf("Channel robotics-->0\n");

  HAL_GPIO_WritePin(M1_PWM_EN_UVW_GPIO_Port,M1_PWM_EN_UVW_Pin,GPIO_PIN_SET);

  MX_MotorControl_Init();

  MX_NVIC_Init();
  /* USER CODE BEGIN 2 */
  printf("Channel robotics-->1\n");

  /* USER CODE END 2 */

  /* Create the thread(s) */
  /* definition and creation of foc_task */
  osThreadDef(foc_task, start_foc_control_task, osPriorityAboveNormal, 0, 128);
  foc_taskHandle = osThreadCreate(osThread(foc_task), NULL);

  /* definition and creation of instr_task */
  osThreadDef(instr_task, start_instruction_task, osPriorityNormal, 0, 128);
  instr_taskHandle = osThreadCreate(osThread(instr_task), NULL);

  /* definition and creation of handler_task */
  osThreadDef(handler_task, start_command_handler_task, osPriorityBelowNormal, 0, 128);
  handler_taskHandle = osThreadCreate(osThread(handler_task), NULL);

  /* definition and creation of mediumFrequency */
  osThreadDef(mediumFrequency, startMediumFrequencyTask, osPriorityIdle, 0, 128);
  mediumFrequencyHandle = osThreadCreate(osThread(mediumFrequency), NULL);

  /* definition and creation of safety */
  osThreadDef(safety, StartSafetyTask, osPriorityIdle, 0, 128);
  safetyHandle = osThreadCreate(osThread(safety), NULL);

  /* USER CODE BEGIN RTOS_THREADS */

  if(foc_taskHandle == NULL || instr_taskHandle == NULL || handler_taskHandle == NULL)
  {
      printf("[ERROR] : Failed to create task\n");
  }

  printf("Free heap = %lu\r\n", (unsigned long)xPortGetFreeHeapSize());

  printf("Channel robotics-->2\n");
  printf("Channel robotics-->2\n");
  printf("Channel robotics-->2\n");
  printf("Channel robotics-->2\n");
  printf("Channel robotics-->2\n");
  printf("Channel robotics-->2\n");
  printf("Channel robotics-->2\n");
  printf("Channel robotics-->2\n");
  printf("Channel robotics-->2\n");
  printf("Channel robotics-->2\n");
  printf("Channel robotics-->2\n");

  /* add threads, ... */
  /* USER CODE END RTOS_THREADS */

  /* Start scheduler */
  osKernelStart();

  /* We should never get here as control is now taken by the scheduler */

  /* Infinite loop */
  while (1)
  {

  }
}

void SystemClock_Config(void)
{
  RCC_OscInitTypeDef RCC_OscInitStruct = {0};
  RCC_ClkInitTypeDef RCC_ClkInitStruct = {0};

  /** Configure the main internal regulator output voltage
  */
  HAL_PWREx_ControlVoltageScaling(PWR_REGULATOR_VOLTAGE_SCALE1_BOOST);

  /** Initializes the RCC Oscillators according to the specified parameters
  * in the RCC_OscInitTypeDef structure.
  */
  RCC_OscInitStruct.OscillatorType = RCC_OSCILLATORTYPE_HSI;
  RCC_OscInitStruct.HSIState = RCC_HSI_ON;
  RCC_OscInitStruct.HSICalibrationValue = RCC_HSICALIBRATION_DEFAULT;
  RCC_OscInitStruct.PLL.PLLState = RCC_PLL_ON;
  RCC_OscInitStruct.PLL.PLLSource = RCC_PLLSOURCE_HSI;
  RCC_OscInitStruct.PLL.PLLM = RCC_PLLM_DIV4;
  RCC_OscInitStruct.PLL.PLLN = 85;
  RCC_OscInitStruct.PLL.PLLP = RCC_PLLP_DIV8;
  RCC_OscInitStruct.PLL.PLLQ = RCC_PLLQ_DIV2;
  RCC_OscInitStruct.PLL.PLLR = RCC_PLLR_DIV2;
  if (HAL_RCC_OscConfig(&RCC_OscInitStruct) != HAL_OK)
  {
    Error_Handler();
  }

  /** Initializes the CPU, AHB and APB buses clocks
  */
  RCC_ClkInitStruct.ClockType = RCC_CLOCKTYPE_HCLK|RCC_CLOCKTYPE_SYSCLK
                              |RCC_CLOCKTYPE_PCLK1|RCC_CLOCKTYPE_PCLK2;
  RCC_ClkInitStruct.SYSCLKSource = RCC_SYSCLKSOURCE_PLLCLK;
  RCC_ClkInitStruct.AHBCLKDivider = RCC_SYSCLK_DIV1;
  RCC_ClkInitStruct.APB1CLKDivider = RCC_HCLK_DIV1;
  RCC_ClkInitStruct.APB2CLKDivider = RCC_HCLK_DIV1;

  if (HAL_RCC_ClockConfig(&RCC_ClkInitStruct, FLASH_LATENCY_4) != HAL_OK)
  {
    Error_Handler();
  }
}

/**
  * @brief NVIC Configuration.
  * @retval None
  */
static void MX_NVIC_Init(void)
{
  /* TIM1_BRK_TIM15_IRQn interrupt configuration */
  HAL_NVIC_SetPriority(TIM1_BRK_TIM15_IRQn, 4, 0);
  HAL_NVIC_EnableIRQ(TIM1_BRK_TIM15_IRQn);
  /* TIM1_UP_TIM16_IRQn interrupt configuration */
  HAL_NVIC_SetPriority(TIM1_UP_TIM16_IRQn, 0, 0);
  HAL_NVIC_EnableIRQ(TIM1_UP_TIM16_IRQn);
  /* ADC1_2_IRQn interrupt configuration */
  HAL_NVIC_SetPriority(ADC1_2_IRQn, 2, 0);
  printf("Channelrobotics--->\n");
  printf("Channelrobotics--->\n");
  printf("Channelrobotics--->\n");
  printf("Channelrobotics--->\n");
  printf("Channelrobotics--->\n");

  HAL_NVIC_EnableIRQ(ADC1_2_IRQn);
  printf("Channelrobotics--->\n");

  /* TIM4_IRQn interrupt configuration */
  HAL_NVIC_SetPriority(TIM4_IRQn, 3, 0);
  HAL_NVIC_EnableIRQ(TIM4_IRQn);
  /* EXTI9_5_IRQn interrupt configuration */
  HAL_NVIC_SetPriority(EXTI9_5_IRQn, 3, 0);
  HAL_NVIC_EnableIRQ(EXTI9_5_IRQn);
}

static void MX_ADC1_Init(void)
{

  ADC_MultiModeTypeDef multimode = {0};
  ADC_InjectionConfTypeDef sConfigInjected = {0};

  /** Common config
  */
  hadc1.Instance = ADC1;
  hadc1.Init.ClockPrescaler = ADC_CLOCK_ASYNC_DIV1;
  hadc1.Init.Resolution = ADC_RESOLUTION_12B;
  hadc1.Init.DataAlign = ADC_DATAALIGN_LEFT;
  hadc1.Init.GainCompensation = 0;
  hadc1.Init.ScanConvMode = ADC_SCAN_ENABLE;
  hadc1.Init.EOCSelection = ADC_EOC_SINGLE_CONV;
  hadc1.Init.LowPowerAutoWait = DISABLE;
  hadc1.Init.ContinuousConvMode = DISABLE;
  hadc1.Init.NbrOfConversion = 1;
  hadc1.Init.DiscontinuousConvMode = DISABLE;
  hadc1.Init.DMAContinuousRequests = DISABLE;
  hadc1.Init.Overrun = ADC_OVR_DATA_PRESERVED;
  hadc1.Init.OversamplingMode = DISABLE;
  if (HAL_ADC_Init(&hadc1) != HAL_OK)
  {
    Error_Handler();
  }

  /** Configure the ADC multi-mode
  */
  multimode.Mode = ADC_MODE_INDEPENDENT;
  if (HAL_ADCEx_MultiModeConfigChannel(&hadc1, &multimode) != HAL_OK)
  {
    Error_Handler();
  }

  /** Configure Injected Channel
  */
  sConfigInjected.InjectedChannel = ADC_CHANNEL_2;
  sConfigInjected.InjectedRank = ADC_INJECTED_RANK_1;
  sConfigInjected.InjectedSamplingTime = ADC_SAMPLETIME_6CYCLES_5;
  sConfigInjected.InjectedSingleDiff = ADC_SINGLE_ENDED;
  sConfigInjected.InjectedOffsetNumber = ADC_OFFSET_NONE;
  sConfigInjected.InjectedOffset = 0;
  sConfigInjected.InjectedNbrOfConversion = 3;
  sConfigInjected.InjectedDiscontinuousConvMode = DISABLE;
  sConfigInjected.AutoInjectedConv = DISABLE;
  sConfigInjected.QueueInjectedContext = DISABLE;
  sConfigInjected.ExternalTrigInjecConv = ADC_EXTERNALTRIGINJEC_T1_TRGO;
  sConfigInjected.ExternalTrigInjecConvEdge = ADC_EXTERNALTRIGINJECCONV_EDGE_RISING;
  sConfigInjected.InjecOversamplingMode = DISABLE;
  if (HAL_ADCEx_InjectedConfigChannel(&hadc1, &sConfigInjected) != HAL_OK)
  {
    Error_Handler();
  }

  /** Configure Injected Channel
  */
  sConfigInjected.InjectedChannel = ADC_CHANNEL_3;
  sConfigInjected.InjectedRank = ADC_INJECTED_RANK_2;
  if (HAL_ADCEx_InjectedConfigChannel(&hadc1, &sConfigInjected) != HAL_OK)
  {
    Error_Handler();
  }

  /** Configure Injected Channel
  */
  sConfigInjected.InjectedChannel = ADC_CHANNEL_4;
  sConfigInjected.InjectedRank = ADC_INJECTED_RANK_3;
  if (HAL_ADCEx_InjectedConfigChannel(&hadc1, &sConfigInjected) != HAL_OK)
  {
    Error_Handler();
  }

}

static void MX_CORDIC_Init(void)
{

  hcordic.Instance = CORDIC;
  if (HAL_CORDIC_Init(&hcordic) != HAL_OK)
  {
    Error_Handler();
  }

}

static void MX_SPI2_Init(void)
{

  /* SPI2 parameter configuration*/
  hspi2.Instance = SPI2;
  hspi2.Init.Mode = SPI_MODE_MASTER;
  hspi2.Init.Direction = SPI_DIRECTION_2LINES;
  hspi2.Init.DataSize = SPI_DATASIZE_8BIT;
  hspi2.Init.CLKPolarity = SPI_POLARITY_LOW;
  hspi2.Init.CLKPhase = SPI_PHASE_1EDGE;
  hspi2.Init.NSS = SPI_NSS_SOFT;
  hspi2.Init.BaudRatePrescaler = SPI_BAUDRATEPRESCALER_4;
  hspi2.Init.FirstBit = SPI_FIRSTBIT_MSB;
  hspi2.Init.TIMode = SPI_TIMODE_DISABLE;
  hspi2.Init.CRCCalculation = SPI_CRCCALCULATION_DISABLE;
  hspi2.Init.CRCPolynomial = 7;
  hspi2.Init.CRCLength = SPI_CRC_LENGTH_DATASIZE;
  hspi2.Init.NSSPMode = SPI_NSS_PULSE_ENABLE;
  if (HAL_SPI_Init(&hspi2) != HAL_OK)
  {
    Error_Handler();
  }

}

static void MX_TIM1_Init(void)
{

  TIM_MasterConfigTypeDef sMasterConfig = {0};
  TIM_OC_InitTypeDef sConfigOC = {0};
  TIM_BreakDeadTimeConfigTypeDef sBreakDeadTimeConfig = {0};

  htim1.Instance = TIM1;
  htim1.Init.Prescaler = ((TIM_CLOCK_DIVIDER) - 1);
  htim1.Init.CounterMode = TIM_COUNTERMODE_CENTERALIGNED1;
  htim1.Init.Period = ((PWM_PERIOD_CYCLES) / 2);
  htim1.Init.ClockDivision = TIM_CLOCKDIVISION_DIV2;
  htim1.Init.RepetitionCounter = (REP_COUNTER);
  htim1.Init.AutoReloadPreload = TIM_AUTORELOAD_PRELOAD_DISABLE;
  if (HAL_TIM_PWM_Init(&htim1) != HAL_OK)
  {
    Error_Handler();
  }
  sMasterConfig.MasterOutputTrigger = TIM_TRGO_OC4REF;
  sMasterConfig.MasterOutputTrigger2 = TIM_TRGO2_RESET;
  sMasterConfig.MasterSlaveMode = TIM_MASTERSLAVEMODE_DISABLE;
  if (HAL_TIMEx_MasterConfigSynchronization(&htim1, &sMasterConfig) != HAL_OK)
  {
    Error_Handler();
  }
  sConfigOC.OCMode = TIM_OCMODE_PWM1;
  sConfigOC.Pulse = ((PWM_PERIOD_CYCLES) / 4);
  sConfigOC.OCPolarity = TIM_OCPOLARITY_HIGH;
  sConfigOC.OCNPolarity = TIM_OCNPOLARITY_HIGH;
  sConfigOC.OCFastMode = TIM_OCFAST_DISABLE;
  sConfigOC.OCIdleState = TIM_OCIDLESTATE_RESET;
  sConfigOC.OCNIdleState = TIM_OCNIDLESTATE_RESET;
  if (HAL_TIM_PWM_ConfigChannel(&htim1, &sConfigOC, TIM_CHANNEL_1) != HAL_OK)
  {
    Error_Handler();
  }
  if (HAL_TIM_PWM_ConfigChannel(&htim1, &sConfigOC, TIM_CHANNEL_2) != HAL_OK)
  {
    Error_Handler();
  }
  if (HAL_TIM_PWM_ConfigChannel(&htim1, &sConfigOC, TIM_CHANNEL_3) != HAL_OK)
  {
    Error_Handler();
  }
  sConfigOC.OCMode = TIM_OCMODE_PWM2;
  sConfigOC.Pulse = (((PWM_PERIOD_CYCLES) / 2) - (HTMIN));
  if (HAL_TIM_PWM_ConfigChannel(&htim1, &sConfigOC, TIM_CHANNEL_4) != HAL_OK)
  {
    Error_Handler();
  }
  sBreakDeadTimeConfig.OffStateRunMode = TIM_OSSR_ENABLE;
  sBreakDeadTimeConfig.OffStateIDLEMode = TIM_OSSI_ENABLE;
  sBreakDeadTimeConfig.LockLevel = TIM_LOCKLEVEL_OFF;
  sBreakDeadTimeConfig.DeadTime = 0;
  sBreakDeadTimeConfig.BreakState = TIM_BREAK_DISABLE;
  sBreakDeadTimeConfig.BreakPolarity = TIM_BREAKPOLARITY_HIGH;
  sBreakDeadTimeConfig.BreakFilter = 0;
  sBreakDeadTimeConfig.BreakAFMode = TIM_BREAK_AFMODE_INPUT;
  sBreakDeadTimeConfig.Break2State = TIM_BREAK2_DISABLE;
  sBreakDeadTimeConfig.Break2Polarity = TIM_BREAK2POLARITY_HIGH;
  sBreakDeadTimeConfig.Break2Filter = 3;
  sBreakDeadTimeConfig.Break2AFMode = TIM_BREAK_AFMODE_INPUT;
  sBreakDeadTimeConfig.AutomaticOutput = TIM_AUTOMATICOUTPUT_DISABLE;
  if (HAL_TIMEx_ConfigBreakDeadTime(&htim1, &sBreakDeadTimeConfig) != HAL_OK)
  {
    Error_Handler();
  }
  HAL_TIM_MspPostInit(&htim1);

}

static void MX_TIM4_Init(void)
{

  TIM_Encoder_InitTypeDef sConfig = {0};
  TIM_MasterConfigTypeDef sMasterConfig = {0};

  htim4.Instance = TIM4;
  htim4.Init.Prescaler = 0;
  htim4.Init.CounterMode = TIM_COUNTERMODE_UP;
  htim4.Init.Period = M1_PULSE_NBR;
  htim4.Init.ClockDivision = TIM_CLOCKDIVISION_DIV1;
  htim4.Init.AutoReloadPreload = TIM_AUTORELOAD_PRELOAD_DISABLE;
  sConfig.EncoderMode = TIM_ENCODERMODE_TI12;
  sConfig.IC1Polarity = TIM_ICPOLARITY_RISING;
  sConfig.IC1Selection = TIM_ICSELECTION_DIRECTTI;
  sConfig.IC1Prescaler = TIM_ICPSC_DIV1;
  sConfig.IC1Filter = M1_ENC_IC_FILTER;
  sConfig.IC2Polarity = TIM_ICPOLARITY_RISING;
  sConfig.IC2Selection = TIM_ICSELECTION_DIRECTTI;
  sConfig.IC2Prescaler = TIM_ICPSC_DIV1;
  sConfig.IC2Filter = M1_ENC_IC_FILTER;
  if (HAL_TIM_Encoder_Init(&htim4, &sConfig) != HAL_OK)
  {
    Error_Handler();
  }
  sMasterConfig.MasterOutputTrigger = TIM_TRGO_RESET;
  sMasterConfig.MasterSlaveMode = TIM_MASTERSLAVEMODE_DISABLE;
  if (HAL_TIMEx_MasterConfigSynchronization(&htim4, &sMasterConfig) != HAL_OK)
  {
    Error_Handler();
  }

}

static void MX_TIM8_Init(void)
{

  TIM_Encoder_InitTypeDef sConfig = {0};
  TIM_MasterConfigTypeDef sMasterConfig = {0};

  htim8.Instance = TIM8;
  htim8.Init.Prescaler = 0;
  htim8.Init.CounterMode = TIM_COUNTERMODE_UP;
  htim8.Init.Period = 65535;
  htim8.Init.ClockDivision = TIM_CLOCKDIVISION_DIV1;
  htim8.Init.RepetitionCounter = 0;
  htim8.Init.AutoReloadPreload = TIM_AUTORELOAD_PRELOAD_DISABLE;
  sConfig.EncoderMode = TIM_ENCODERMODE_TI1;
  sConfig.IC1Polarity = TIM_ICPOLARITY_RISING;
  sConfig.IC1Selection = TIM_ICSELECTION_DIRECTTI;
  sConfig.IC1Prescaler = TIM_ICPSC_DIV1;
  sConfig.IC1Filter = 0;
  sConfig.IC2Polarity = TIM_ICPOLARITY_RISING;
  sConfig.IC2Selection = TIM_ICSELECTION_DIRECTTI;
  sConfig.IC2Prescaler = TIM_ICPSC_DIV1;
  sConfig.IC2Filter = 0;
  if (HAL_TIM_Encoder_Init(&htim8, &sConfig) != HAL_OK)
  {
    Error_Handler();
  }
  sMasterConfig.MasterOutputTrigger = TIM_TRGO_RESET;
  sMasterConfig.MasterOutputTrigger2 = TIM_TRGO2_RESET;
  sMasterConfig.MasterSlaveMode = TIM_MASTERSLAVEMODE_DISABLE;
  if (HAL_TIMEx_MasterConfigSynchronization(&htim8, &sMasterConfig) != HAL_OK)
  {
    Error_Handler();
  }

}

static void MX_USART1_UART_Init(void)
{

  huart1.Instance = USART1;
  huart1.Init.BaudRate = 2000000;
  huart1.Init.WordLength = UART_WORDLENGTH_8B;
  huart1.Init.StopBits = UART_STOPBITS_1;
  huart1.Init.Parity = UART_PARITY_NONE;
  huart1.Init.Mode = UART_MODE_TX_RX;
  huart1.Init.HwFlowCtl = UART_HWCONTROL_NONE;
  huart1.Init.OverSampling = UART_OVERSAMPLING_16;
  huart1.Init.OneBitSampling = UART_ONE_BIT_SAMPLE_DISABLE;
  huart1.Init.ClockPrescaler = UART_PRESCALER_DIV1;
  huart1.AdvancedInit.AdvFeatureInit = UART_ADVFEATURE_NO_INIT;
  if (HAL_UART_Init(&huart1) != HAL_OK)
  {
    Error_Handler();
  }
  if (HAL_UARTEx_SetTxFifoThreshold(&huart1, UART_TXFIFO_THRESHOLD_1_8) != HAL_OK)
  {
    Error_Handler();
  }
  if (HAL_UARTEx_SetRxFifoThreshold(&huart1, UART_RXFIFO_THRESHOLD_1_8) != HAL_OK)
  {
    Error_Handler();
  }
  if (HAL_UARTEx_DisableFifoMode(&huart1) != HAL_OK)
  {
    Error_Handler();
  }

}

static void MX_USART3_UART_Init(void)
{

  huart3.Instance = USART3;
  huart3.Init.BaudRate = 2000000;
  huart3.Init.WordLength = UART_WORDLENGTH_8B;
  huart3.Init.StopBits = UART_STOPBITS_1;
  huart3.Init.Parity = UART_PARITY_NONE;
  huart3.Init.Mode = UART_MODE_TX_RX;
  huart3.Init.HwFlowCtl = UART_HWCONTROL_NONE;
  huart3.Init.OverSampling = UART_OVERSAMPLING_16;
  huart3.Init.OneBitSampling = UART_ONE_BIT_SAMPLE_DISABLE;
  huart3.Init.ClockPrescaler = UART_PRESCALER_DIV1;
  huart3.AdvancedInit.AdvFeatureInit = UART_ADVFEATURE_NO_INIT;
  if (HAL_UART_Init(&huart3) != HAL_OK)
  {
    Error_Handler();
  }
  if (HAL_UARTEx_SetTxFifoThreshold(&huart3, UART_TXFIFO_THRESHOLD_1_8) != HAL_OK)
  {
    Error_Handler();
  }
  if (HAL_UARTEx_SetRxFifoThreshold(&huart3, UART_RXFIFO_THRESHOLD_1_8) != HAL_OK)
  {
    Error_Handler();
  }
  if (HAL_UARTEx_DisableFifoMode(&huart3) != HAL_OK)
  {
    Error_Handler();
  }

}

static void MX_DMA_Init(void)
{

  /* DMA controller clock enable */
  __HAL_RCC_DMAMUX1_CLK_ENABLE();
  __HAL_RCC_DMA1_CLK_ENABLE();

}

static void MX_GPIO_Init(void)
{
  GPIO_InitTypeDef GPIO_InitStruct = {0};

  /* GPIO Ports Clock Enable */
  __HAL_RCC_GPIOG_CLK_ENABLE();
  __HAL_RCC_GPIOA_CLK_ENABLE();
  __HAL_RCC_GPIOC_CLK_ENABLE();
  __HAL_RCC_GPIOB_CLK_ENABLE();

  /*Configure GPIO pin Output Level */
  HAL_GPIO_WritePin(GPIOB, M1_SPI_CS_Pin|M1_EXT_ENCODER_Z_Pin, GPIO_PIN_RESET);

  /*Configure GPIO pin Output Level */
  HAL_GPIO_WritePin(M1_PWM_EN_UVW_GPIO_Port, M1_PWM_EN_UVW_Pin, GPIO_PIN_RESET);

  /*Configure GPIO pin : M1_NRST_Pin */
  GPIO_InitStruct.Pin = M1_NRST_Pin;
  GPIO_InitStruct.Mode = GPIO_MODE_INPUT;
  GPIO_InitStruct.Pull = GPIO_NOPULL;
  HAL_GPIO_Init(M1_NRST_GPIO_Port, &GPIO_InitStruct);

  /*Configure GPIO pin : M1_VCC_Pin */
  GPIO_InitStruct.Pin = M1_VCC_Pin;
  GPIO_InitStruct.Mode = GPIO_MODE_INPUT;
  GPIO_InitStruct.Pull = GPIO_NOPULL;
  HAL_GPIO_Init(M1_VCC_GPIO_Port, &GPIO_InitStruct);

  /*Configure GPIO pins : M1_SPI_CS_Pin M1_EXT_ENCODER_Z_Pin */
  GPIO_InitStruct.Pin = M1_SPI_CS_Pin|M1_EXT_ENCODER_Z_Pin;
  GPIO_InitStruct.Mode = GPIO_MODE_OUTPUT_PP;
  GPIO_InitStruct.Pull = GPIO_NOPULL;
  GPIO_InitStruct.Speed = GPIO_SPEED_FREQ_LOW;
  HAL_GPIO_Init(GPIOB, &GPIO_InitStruct);

  /*Configure GPIO pin : M1_PWM_EN_UVW_Pin */
  GPIO_InitStruct.Pin = M1_PWM_EN_UVW_Pin;
  GPIO_InitStruct.Mode = GPIO_MODE_OUTPUT_PP;
  GPIO_InitStruct.Pull = GPIO_PULLDOWN;
  GPIO_InitStruct.Speed = GPIO_SPEED_FREQ_HIGH;
  HAL_GPIO_Init(M1_PWM_EN_UVW_GPIO_Port, &GPIO_InitStruct);

  /*Configure GPIO pin : M1_ENCODER_Z_Pin */
  GPIO_InitStruct.Pin = M1_ENCODER_Z_Pin;
  GPIO_InitStruct.Mode = GPIO_MODE_IT_RISING;
  GPIO_InitStruct.Pull = GPIO_NOPULL;
  HAL_GPIO_Init(M1_ENCODER_Z_GPIO_Port, &GPIO_InitStruct);

}

void start_foc_control_task(void const * argument)
{
  /* USER CODE BEGIN 5 */

  HAL_TIM_Encoder_Start(&htim4, TIM_CHANNEL_ALL);
  printf("[INIT] Encoder count: %d\r\n", (int)(int16_t)LL_TIM_GetCounter(TIM4));

  MC_StartMotor1();

  TickType_t start_tick = xTaskGetTickCount();

  while (MCI_GetSTMState(pMCI[M1]) != RUN)
  {
      if ((xTaskGetTickCount() - start_tick) >= pdMS_TO_TICKS(6000))
      {
          printf("[FOC] Timeout waiting for motor RUN state\r\n");
          // motor_fault = 1;
          break;
      }

      vTaskDelay(pdMS_TO_TICKS(1));
  }

  PID_SetKP(&PID_PosParamsM1, 500);
  PID_SetKI(&PID_PosParamsM1, 0);
  PID_SetKD(&PID_PosParamsM1, 0);
  PID_SetPrevError(&PID_PosParamsM1, 0);
  PID_SetIntegralTerm(&PID_PosParamsM1, 0);

  MC_ProgramPositionCommandMotor1(100, 2);

  printf("Command executed\n");

  for(;;)
  {
    // printf("start_foc_control_task\n");

    vTaskDelay(1);
  }
  /* USER CODE END 5 */
}

void start_instruction_task(void const * argument)
{
  /* USER CODE BEGIN start_instruction_task */
  /* Infinite loop */
  for(;;)
  {
    // printf("start_instruction_task\n");
    osDelay(1);
  }
  /* USER CODE END start_instruction_task */
}

void start_command_handler_task(void const * argument)
{
  /* USER CODE BEGIN start_command_handler_task */
  /* Infinite loop */
  for(;;)
  {
    // printf("start_command_handler_task\n");
    osDelay(1);
  }
  /* USER CODE END start_command_handler_task */
}

__weak void startMediumFrequencyTask(void const * argument)
{
  for(;;)
  {
    osDelay(1);
  }
}

void HAL_TIM_PeriodElapsedCallback(TIM_HandleTypeDef *htim)
{
  if (htim->Instance == TIM6)
  {
    HAL_IncTick();
  }
}

void Error_Handler(void)
{
  /* USER CODE BEGIN Error_Handler_Debug */
  printf("Error_Handler\n");
  /* User can add his own implementation to report the HAL error return state */
  __disable_irq();
  while (1)
  {
  }
  /* USER CODE END Error_Handler_Debug */
}
